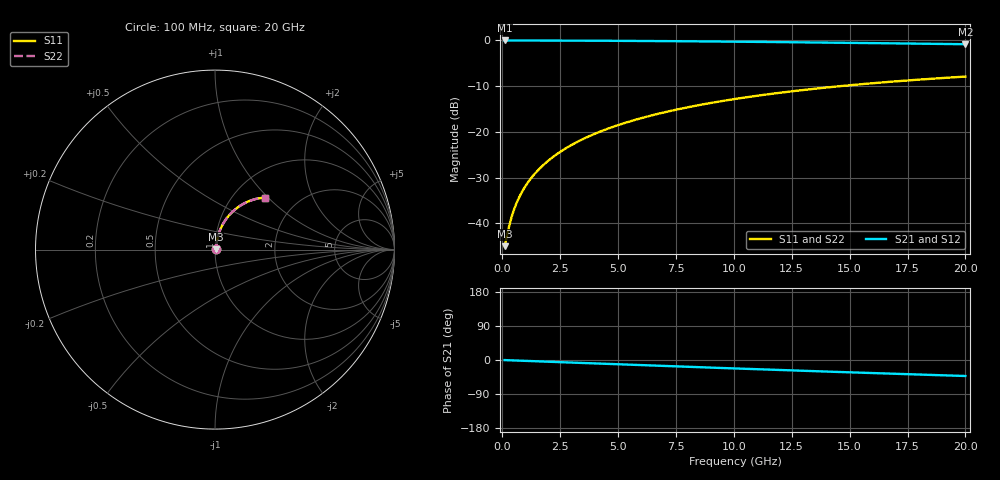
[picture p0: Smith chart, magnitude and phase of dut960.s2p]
! Touchstone file exported from HFSS 2026.1.0
!  File:  C:/ffzhzh/LocalFiles/Ansys_Project_Files/temp_train_TMRDL_960_1783158838_51560.aedt
!  Generated:  05:55:16 PM Jul  4, 2026
!  Design:  TMRDL
!  Project:  temp_train_TMRDL_960_1783158838_51560
! Variables:
!  h_bsmrdl = 2um
!  h_ox = 20um
!  h_rdl = 5um
!  h_sub = 80um
!  h_tmrdl = 2.03um
!  h_tsv = 80um
!  h_via = 3um
!  l_bsmrdl = 300um
!  l_sub = 994.86um
!  l_tmrdl = 594.86um
!  m_sub = 200um
!  pitch = 49.02um
!  r_tsv = 6um
!  s_tmrdl = 10um
!  w_bsmrdl = 18um
!  w_sub = 500um
!  w_tmrdl = 22.33um
!  x_tsv_center1 = 606.025um
!  x_tsv_center2 = 924.025um
!  x_tsv_center3 = 1541.215um
!  x_tsv_center4 = 1859.215um
!  x_tsv_center5 = 2476.405um
!  x_tsv_center6 = 2794.405um
# GHz S MA R 50.000000
! Terminal data exported
! Port[1] = TM_RDL1_1_T1
! Port[2] = TM_RDL1_1_T2
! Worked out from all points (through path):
!   200 points, 100 MHz to 20 GHz, reference 50 ohm
!   highest |S21| = -0.04 dB at 100 MHz (marker M1); lowest = -0.9 dB at 20 GHz (marker M2)
!   group delay of S21, straight-line fit = 5.88 ps
!   lowest |S11| = -45.0 dB at 100 MHz (marker M3), VSWR 1.01, Z = 50.5 + j0.265 ohm
!   |S11| at or under -10 dB: start of sweep to 14.65 GHz
!   |S22| runs from -45.0 to -7.9 dB; largest |S21 - S12| = 3.4e-15
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0.1  0.005626 27.8  0.995 -0.2  0.995 -0.2  0.005626 27.8
! Gamma 0 0 0 0
! Port Impedance 50 0 50 0
0.3  0.009411 55.7  0.9948 -0.7  0.9948 -0.7  0.009411 55.7
0.4  0.01167 61.6  0.9946 -1.0  0.9946 -1.0  0.01167 61.6
0.5  0.01397 65.4  0.9944 -1.2  0.9944 -1.2  0.01397 65.4
0.6  0.01628 68.1  0.9942 -1.4  0.9942 -1.4  0.01628 68.1
0.7  0.01858 70.0  0.994 -1.6  0.994 -1.6  0.01858 70.0
0.9  0.02319 72.7  0.9937 -2.1  0.9937 -2.1  0.02319 72.7
1.2  0.0301 75.1  0.9932 -2.8  0.9932 -2.8  0.0301 75.1
1.4  0.03472 76.1  0.993 -3.2  0.993 -3.2  0.03472 76.1
1.7  0.04168 77.1  0.9926 -3.9  0.9926 -3.9  0.04168 77.1
2.2  0.05332 77.8  0.9919 -5.0  0.9919 -5.0  0.05332 77.8
2.8  0.06732 77.8  0.9909 -6.4  0.9909 -6.4  0.06732 77.8
3.5  0.08362 77.3  0.9896 -7.9  0.9896 -7.9  0.08362 77.3
4.2  0.09984 76.4  0.988 -9.5  0.988 -9.5  0.09984 76.4
5  0.1182 75.2  0.9858 -11.3  0.9858 -11.3  0.1182 75.2
5.9  0.1387 73.6  0.9829 -13.3  0.9829 -13.3  0.1387 73.7
6.8  0.1588 72.0  0.9797 -15.3  0.9797 -15.3  0.1588 72.0
8.3  0.1915 69.1  0.9735 -18.6  0.9735 -18.6  0.1915 69.1
10.1  0.2293 65.5  0.9649 -22.4  0.9649 -22.4  0.2293 65.5
13.4  0.2936 58.9  0.9466 -29.3  0.9466 -29.3  0.2936 58.9
16.7  0.351 52.5  0.9263 -35.9  0.9263 -35.9  0.351 52.5
20  0.401 46.3  0.9054 -42.2  0.9054 -42.2  0.4011 46.3
